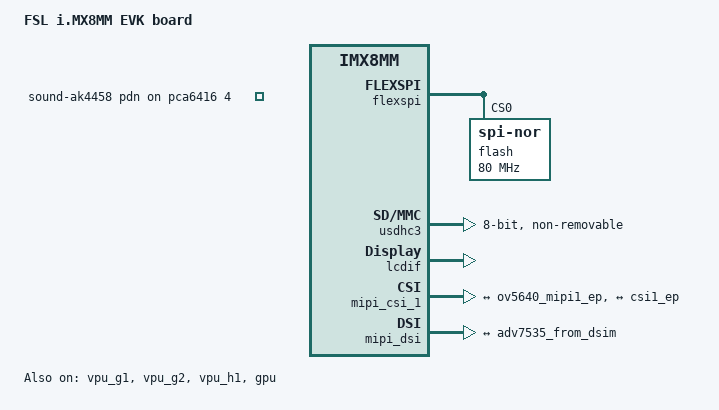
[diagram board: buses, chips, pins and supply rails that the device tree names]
// SPDX-License-Identifier: (GPL-2.0+ OR MIT)
/*
 * Copyright 2019-2020 NXP
 */

/dts-v1/;

#include <dt-bindings/usb/pd.h>
#include "imx8mm-evk.dtsi"

/ {
	model = "FSL i.MX8MM EVK board";
	compatible = "fsl,imx8mm-evk", "fsl,imx8mm";

	aliases {
		spi0 = &flexspi;
	};
};

&ddrc {
	operating-points-v2 = <&ddrc_opp_table>;

	ddrc_opp_table: opp-table {
		compatible = "operating-points-v2";

		opp-25M {
			opp-hz = /bits/ 64 <25000000>;
		};

		opp-100M {
			opp-hz = /bits/ 64 <100000000>;
		};

		opp-750M {
			opp-hz = /bits/ 64 <750000000>;
		};
	};

	sound-ak4458 {
		compatible = "fsl,imx-audio-ak4458";
		model = "ak4458-audio";
		audio-cpu = <&sai1>;
		audio-codec = <&ak4458_1>, <&ak4458_2>;
		ak4458,pdn-gpio = <&pca6416 4 GPIO_ACTIVE_HIGH>;
	};

	sound-ak5558 {
		compatible = "fsl,imx-audio-ak5558";
		model = "ak5558-audio";
		audio-cpu = <&sai5>;
		audio-codec = <&ak5558>;
		status = "disabled";
	};

	sound-ak4497 {
		compatible = "fsl,imx-audio-ak4497";
		model = "ak4497-audio";
		audio-cpu = <&sai1>;
		audio-codec = <&ak4497>;
		status = "disabled";
	};

	sound-spdif {
		compatible = "fsl,imx-audio-spdif";
		model = "imx-spdif";
		spdif-controller = <&spdif1>;
		spdif-out;
		spdif-in;
	};

	sound-micfil {
		compatible = "fsl,imx-audio-micfil";
		model = "imx-audio-micfil";
		cpu-dai = <&micfil>;
	};
};

&flexspi {
	pinctrl-names = "default";
	pinctrl-0 = <&pinctrl_flexspi>;
	status = "okay";

	flash@0 {
		reg = <0>;
		#address-cells = <1>;
		#size-cells = <1>;
		compatible = "jedec,spi-nor";
		spi-max-frequency = <80000000>;
		spi-tx-bus-width = <4>;
		spi-rx-bus-width = <4>;
	};
};

&usdhc3 {
	assigned-clocks = <&clk IMX8MM_CLK_USDHC3_ROOT>;
	assigned-clock-rates = <400000000>;
	pinctrl-names = "default", "state_100mhz", "state_200mhz";
	pinctrl-0 = <&pinctrl_usdhc3>;
	pinctrl-1 = <&pinctrl_usdhc3_100mhz>;
	pinctrl-2 = <&pinctrl_usdhc3_200mhz>;
	bus-width = <8>;
	non-removable;
	status = "okay";
};

&iomuxc {
	pinctrl_flexspi: flexspigrp {
		fsl,pins = <
			MX8MM_IOMUXC_NAND_ALE_QSPI_A_SCLK               0x1c2
			MX8MM_IOMUXC_NAND_CE0_B_QSPI_A_SS0_B            0x82
			MX8MM_IOMUXC_NAND_DATA00_QSPI_A_DATA0           0x82
			MX8MM_IOMUXC_NAND_DATA01_QSPI_A_DATA1           0x82
			MX8MM_IOMUXC_NAND_DATA02_QSPI_A_DATA2           0x82
			MX8MM_IOMUXC_NAND_DATA03_QSPI_A_DATA3           0x82
		>;
	};

	pinctrl_usdhc3: usdhc3grp {
		fsl,pins = <
			MX8MM_IOMUXC_NAND_WE_B_USDHC3_CLK               0x190
			MX8MM_IOMUXC_NAND_WP_B_USDHC3_CMD               0x1d0
			MX8MM_IOMUXC_NAND_DATA04_USDHC3_DATA0           0x1d0
			MX8MM_IOMUXC_NAND_DATA05_USDHC3_DATA1           0x1d0
			MX8MM_IOMUXC_NAND_DATA06_USDHC3_DATA2           0x1d0
			MX8MM_IOMUXC_NAND_DATA06_USDHC3_DATA2           0x1d0
			MX8MM_IOMUXC_NAND_DATA07_USDHC3_DATA3           0x1d0
			MX8MM_IOMUXC_NAND_RE_B_USDHC3_DATA4             0x1d0
			MX8MM_IOMUXC_NAND_CE2_B_USDHC3_DATA5            0x1d0
			MX8MM_IOMUXC_NAND_CE3_B_USDHC3_DATA6            0x1d0
			MX8MM_IOMUXC_NAND_CLE_USDHC3_DATA7              0x1d0
			MX8MM_IOMUXC_NAND_CE1_B_USDHC3_STROBE           0x190
		>;
	};

	pinctrl_usdhc3_100mhz: usdhc3-100mhzgrp {
		fsl,pins = <
			MX8MM_IOMUXC_NAND_WE_B_USDHC3_CLK               0x194
			MX8MM_IOMUXC_NAND_WP_B_USDHC3_CMD               0x1d4
			MX8MM_IOMUXC_NAND_DATA04_USDHC3_DATA0           0x1d4
			MX8MM_IOMUXC_NAND_DATA05_USDHC3_DATA1           0x1d4
			MX8MM_IOMUXC_NAND_DATA06_USDHC3_DATA2           0x1d4
			MX8MM_IOMUXC_NAND_DATA07_USDHC3_DATA3           0x1d4
			MX8MM_IOMUXC_NAND_RE_B_USDHC3_DATA4             0x1d4
			MX8MM_IOMUXC_NAND_CE2_B_USDHC3_DATA5            0x1d4
			MX8MM_IOMUXC_NAND_CE3_B_USDHC3_DATA6            0x1d4
			MX8MM_IOMUXC_NAND_CLE_USDHC3_DATA7              0x1d4
			MX8MM_IOMUXC_NAND_CE1_B_USDHC3_STROBE           0x194
		>;
	};

	pinctrl_usdhc3_200mhz: usdhc3-200mhzgrp {
		fsl,pins = <
			MX8MM_IOMUXC_NAND_WE_B_USDHC3_CLK               0x196
			MX8MM_IOMUXC_NAND_WP_B_USDHC3_CMD               0x1d6
			MX8MM_IOMUXC_NAND_DATA04_USDHC3_DATA0           0x1d6
			MX8MM_IOMUXC_NAND_DATA05_USDHC3_DATA1           0x1d6
			MX8MM_IOMUXC_NAND_DATA06_USDHC3_DATA2           0x1d6
			MX8MM_IOMUXC_NAND_DATA07_USDHC3_DATA3           0x1d6
			MX8MM_IOMUXC_NAND_RE_B_USDHC3_DATA4             0x1d6
			MX8MM_IOMUXC_NAND_CE2_B_USDHC3_DATA5            0x1d6
			MX8MM_IOMUXC_NAND_CE3_B_USDHC3_DATA6            0x1d6
			MX8MM_IOMUXC_NAND_CLE_USDHC3_DATA7              0x1d6
			MX8MM_IOMUXC_NAND_CE1_B_USDHC3_STROBE           0x196
		>;
	};

	pinctrl_wlan: wlangrp {
		fsl,pins = <
			MX8MM_IOMUXC_GPIO1_IO00_ANAMIX_REF_CLK_32K	0x141
			MX8MM_IOMUXC_SD1_DATA7_GPIO2_IO9		0x111
		>;
	};
};

&lcdif {
	status = "okay";
};

&mipi_csi_1 {
	#address-cells = <1>;
	#size-cells = <0>;
	status = "okay";
	port {
		mipi1_sensor_ep: endpoint@1 {
			remote-endpoint = <&ov5640_mipi1_ep>;
			data-lanes = <2>;
			csis-hs-settle = <13>;
			csis-clk-settle = <2>;
			csis-wclk;
		};

		csi1_mipi_ep: endpoint@2 {
			remote-endpoint = <&csi1_ep>;
		};
	};
};

&mipi_dsi {
	status = "okay";

	port@1 {
		dsim_to_adv7535: endpoint {
			remote-endpoint = <&adv7535_from_dsim>;
			attach-bridge;
		};
	};
};

&vpu_g1 {
	status = "okay";
};

&vpu_g2 {
	status = "okay";
};

&vpu_h1 {
	status = "okay";
};

&gpu {
	status = "okay";
};
